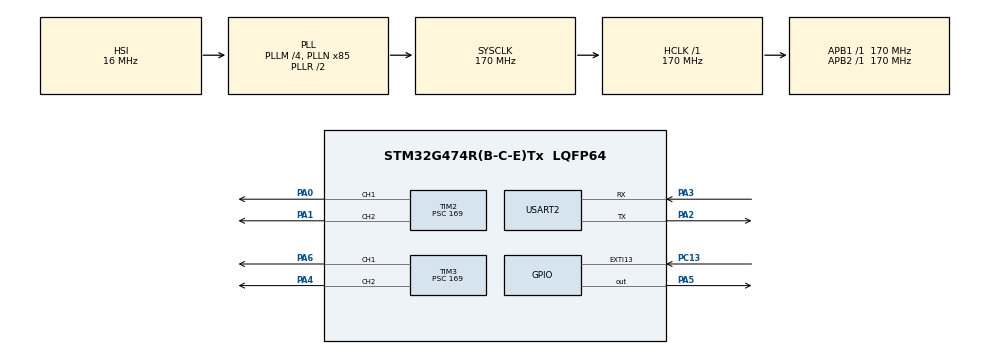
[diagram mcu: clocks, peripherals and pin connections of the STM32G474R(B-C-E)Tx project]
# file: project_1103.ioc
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Mcu.Family=STM32G4
Mcu.Name=STM32G474R(B-C-E)Tx
Mcu.Package=LQFP64
NVIC.EXTI15_10_IRQn=true\:0\:0\:false\:false\:true\:true\:true\:true
NVIC.PriorityGroup=NVIC_PRIORITYGROUP_4
NVIC.TIM2_IRQn=true\:0\:0\:false\:false\:true\:true\:true\:true
NVIC.USART2_IRQn=true\:0\:0\:false\:false\:true\:true\:true\:true
PA0.Signal=S_TIM2_CH1
PA1.Signal=S_TIM2_CH2
PA13.GPIO_Label=T_SWDIO
PA13.Signal=SYS_JTMS-SWDIO
PA14.GPIO_Label=T_SWCLK
PA14.Signal=SYS_JTCK-SWCLK
PA2.Mode=Asynchronous
PA2.Signal=USART2_TX
PA3.Mode=Asynchronous
PA3.Signal=USART2_RX
PA4.Signal=S_TIM3_CH2
PA5.Signal=GPIO_Output
PA6.Signal=S_TIM3_CH1
PB3.GPIO_Label=T_SWO
PB3.Signal=SYS_JTDO-SWO
PC13.GPIO_PuPd=GPIO_NOPULL
PC13.Signal=GPXTI13
PC14-OSC32_IN.GPIO_Label=RCC_OSC32_IN
PC14-OSC32_IN.Signal=RCC_OSC32_IN
PC15-OSC32_OUT.GPIO_Label=RCC_OSC32_OUT
PC15-OSC32_OUT.Signal=RCC_OSC32_OUT
PF0-OSC_IN.GPIO_Label=RCC_OSC_IN
PF0-OSC_IN.Signal=RCC_OSC_IN
PF1-OSC_OUT.GPIO_Label=RCC_OSC_OUT
PF1-OSC_OUT.Signal=RCC_OSC_OUT
ProjectManager.HeapSize=0x200
ProjectManager.StackSize=0x400
ProjectManager.TargetToolchain=STM32CubeIDE
RCC.ADC12Freq_Value=170000000
RCC.ADC345Freq_Value=170000000
RCC.AHBFreq_Value=170000000
RCC.APB1Freq_Value=170000000
RCC.APB1TimFreq_Value=170000000
RCC.APB2Freq_Value=170000000
RCC.APB2TimFreq_Value=170000000
RCC.CortexFreq_Value=170000000
RCC.EXTERNAL_CLOCK_VALUE=12288000
RCC.HCLKFreq_Value=170000000
RCC.HSE_VALUE=24000000
RCC.HSI48_VALUE=48000000
RCC.HSI_VALUE=16000000
RCC.LSE_VALUE=32768
RCC.PLLM=RCC_PLLM_DIV4
RCC.PLLN=85
RCC.RTCClockSelection=RCC_RTCCLKSOURCE_LSE
RCC.SYSCLKFreq_VALUE=170000000
RCC.SYSCLKSource=RCC_SYSCLKSOURCE_PLLCLK
RCC.USBFreq_Value=170000000
RCC.VCOOutputFreq_Value=340000000
SH.S_TIM2_CH1.0=TIM2_CH1,PWM Generation1 CH1
SH.S_TIM2_CH2.0=TIM2_CH2,PWM Generation2 CH2
SH.S_TIM3_CH1.0=TIM3_CH1,PWM Generation1 CH1
SH.S_TIM3_CH2.0=TIM3_CH2,PWM Generation2 CH2
TIM2.Channel-PWM\ Generation1\ CH1=TIM_CHANNEL_1
TIM2.Channel-PWM\ Generation2\ CH2=TIM_CHANNEL_2
TIM2.PeriodNoDither=999
TIM2.Prescaler=169
TIM3.Channel-PWM\ Generation1\ CH1=TIM_CHANNEL_1
TIM3.Channel-PWM\ Generation2\ CH2=TIM_CHANNEL_2
TIM3.PeriodNoDither=9999
TIM3.Prescaler=169
USART2.VirtualMode-Asynchronous=VM_ASYNC
VP_SYS_VS_DBSignals.Mode=DisableDeadBatterySignals
VP_TIM2_VS_ClockSourceINT.Mode=Internal
VP_TIM3_VS_ClockSourceINT.Mode=Internal
board=NUCLEO-G474RE

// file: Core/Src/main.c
/* USER CODE BEGIN Header */
/**
  ******************************************************************************
  * @file           : main.c
  * @brief          : Main program body
  ******************************************************************************
  * @attention
  *
  * Copyright (c) 2026 STMicroelectronics.
  * All rights reserved.
  *
  * This software is licensed under terms that can be found in the LICENSE file
  * in the root directory of this software component.
  * If no LICENSE file comes with this software, it is provided AS-IS.
  *
  ******************************************************************************
  */
/* USER CODE END Header */
#include "main.h"

/* USER CODE BEGIN Includes */
#include <stdio.h>
#include <string.h>
#include <stdlib.h>
/* USER CODE END Includes */

TIM_HandleTypeDef htim2;
TIM_HandleTypeDef htim3;

UART_HandleTypeDef huart2;

/* USER CODE BEGIN PV */
// 狀態變數
volatile uint8_t water_level = 100;
volatile uint8_t light_level = 0;
volatile uint8_t uart_tx_flag = 0;
volatile uint32_t last_button_tick = 0;

// UART 環形緩衝區 (Ring Buffer)
#define RX_BUF_SIZE 128
volatile uint8_t rx_ring_buf[RX_BUF_SIZE];
volatile uint16_t rx_head = 0;
volatile uint16_t rx_tail = 0;
uint8_t rx_byte;
/* USER CODE END PV */

void SystemClock_Config(void);
static void MX_GPIO_Init(void);
static void MX_TIM2_Init(void);
static void MX_TIM3_Init(void);
static void MX_USART2_UART_Init(void);

int main(void)
{

  /* MCU Configuration--------------------------------------------------------*/

  /* Reset of all peripherals, Initializes the Flash interface and the Systick. */
  HAL_Init();

  /* Configure the system clock */
  SystemClock_Config();

  /* Initialize all configured peripherals */
  MX_GPIO_Init();
  MX_TIM2_Init();
  MX_TIM3_Init();
  MX_USART2_UART_Init();
  /* USER CODE BEGIN 2 */
  // 啟動 TIM2 中斷
    HAL_TIM_Base_Start_IT(&htim2);

    // 啟動 TIM3 PWM 通道 1 與 2
    HAL_TIM_PWM_Start(&htim3, TIM_CHANNEL_1);
    HAL_TIM_PWM_Start(&htim3, TIM_CHANNEL_2);

    // 初始亮度設定 (佔空比 0~100 對應 ARR 0~10000)
    __HAL_TIM_SET_COMPARE(&htim3, TIM_CHANNEL_1, light_level * 100);
    __HAL_TIM_SET_COMPARE(&htim3, TIM_CHANNEL_2, water_level * 100);

    // 開啟 UART 接收中斷
    HAL_UART_Receive_IT(&huart2, &rx_byte, 1);
  /* USER CODE END 2 */

  /* Infinite loop */
  /* USER CODE BEGIN WHILE */
    char cmd_buf[32];
      uint8_t cmd_idx = 0;
  while (1)
  {
    /* USER CODE END WHILE */

    /* USER CODE BEGIN 3 */
	  // 1. 處理 UART 發送排程 (非阻塞)
	        if (uart_tx_flag)
	        {
	            uart_tx_flag = 0;
	            char tx_msg[128];
	            if (water_level < 20) {
	                sprintf(tx_msg, "狀態:缺水救援 | 光照:%d%% | 水量:%d%%\r\n", light_level, water_level);
	            } else {
	                sprintf(tx_msg, "狀態:正常 | 光照:%d%% | 水量:%d%%\r\n", light_level, water_level);
	            }
	            HAL_UART_Transmit(&huart2, (uint8_t*)tx_msg, strlen(tx_msg), 100);
	        }

	        // 2. 處理 UART 接收環形緩衝區 (非阻塞解析指令)
	        while (rx_tail != rx_head)
	        {
	            char c = (char)rx_ring_buf[rx_tail];
	            rx_tail = (rx_tail + 1) % RX_BUF_SIZE;

	            if (c == '\n' || c == '\r')
	            {
	                if (cmd_idx > 0)
	                {
	                    cmd_buf[cmd_idx] = '\0';
	                    if (strncmp(cmd_buf, "light ", 6) == 0)
	                    {
	                        light_level = atoi(cmd_buf + 6);
	                        if (light_level > 100) light_level = 100;
	                        __HAL_TIM_SET_COMPARE(&htim3, TIM_CHANNEL_1, light_level * 100);
	                    }
	                    else if (strncmp(cmd_buf, "water ", 6) == 0)
	                    {
	                        water_level = atoi(cmd_buf + 6);
	                        if (water_level > 100) water_level = 100;
	                        __HAL_TIM_SET_COMPARE(&htim3, TIM_CHANNEL_2, water_level * 100);
	                    }
	                    cmd_idx = 0; // 重置指令緩衝區索引
	                }
	            }
	            else
	            {
	                if (cmd_idx < sizeof(cmd_buf) - 1) {
	                    cmd_buf[cmd_idx++] = c;
	                } else {
	                    cmd_idx = 0; // 避免緩衝區溢位
	                }
	            }
	        }
  }
  /* USER CODE END 3 */
}

void SystemClock_Config(void)
{
  RCC_OscInitTypeDef RCC_OscInitStruct = {0};
  RCC_ClkInitTypeDef RCC_ClkInitStruct = {0};

  /** Configure the main internal regulator output voltage
  */
  HAL_PWREx_ControlVoltageScaling(PWR_REGULATOR_VOLTAGE_SCALE1_BOOST);

  /** Initializes the RCC Oscillators according to the specified parameters
  * in the RCC_OscInitTypeDef structure.
  */
  RCC_OscInitStruct.OscillatorType = RCC_OSCILLATORTYPE_HSI;
  RCC_OscInitStruct.HSIState = RCC_HSI_ON;
  RCC_OscInitStruct.HSICalibrationValue = RCC_HSICALIBRATION_DEFAULT;
  RCC_OscInitStruct.PLL.PLLState = RCC_PLL_ON;
  RCC_OscInitStruct.PLL.PLLSource = RCC_PLLSOURCE_HSI;
  RCC_OscInitStruct.PLL.PLLM = RCC_PLLM_DIV4;
  RCC_OscInitStruct.PLL.PLLN = 85;
  RCC_OscInitStruct.PLL.PLLP = RCC_PLLP_DIV2;
  RCC_OscInitStruct.PLL.PLLQ = RCC_PLLQ_DIV2;
  RCC_OscInitStruct.PLL.PLLR = RCC_PLLR_DIV2;
  if (HAL_RCC_OscConfig(&RCC_OscInitStruct) != HAL_OK)
  {
    Error_Handler();
  }

  /** Initializes the CPU, AHB and APB buses clocks
  */
  RCC_ClkInitStruct.ClockType = RCC_CLOCKTYPE_HCLK|RCC_CLOCKTYPE_SYSCLK
                              |RCC_CLOCKTYPE_PCLK1|RCC_CLOCKTYPE_PCLK2;
  RCC_ClkInitStruct.SYSCLKSource = RCC_SYSCLKSOURCE_PLLCLK;
  RCC_ClkInitStruct.AHBCLKDivider = RCC_SYSCLK_DIV1;
  RCC_ClkInitStruct.APB1CLKDivider = RCC_HCLK_DIV1;
  RCC_ClkInitStruct.APB2CLKDivider = RCC_HCLK_DIV1;

  if (HAL_RCC_ClockConfig(&RCC_ClkInitStruct, FLASH_LATENCY_4) != HAL_OK)
  {
    Error_Handler();
  }
}

static void MX_TIM2_Init(void)
{

  TIM_ClockConfigTypeDef sClockSourceConfig = {0};
  TIM_MasterConfigTypeDef sMasterConfig = {0};
  TIM_OC_InitTypeDef sConfigOC = {0};

  htim2.Instance = TIM2;
  htim2.Init.Prescaler = 169;
  htim2.Init.CounterMode = TIM_COUNTERMODE_UP;
  htim2.Init.Period = 999;
  htim2.Init.ClockDivision = TIM_CLOCKDIVISION_DIV1;
  htim2.Init.AutoReloadPreload = TIM_AUTORELOAD_PRELOAD_DISABLE;
  if (HAL_TIM_Base_Init(&htim2) != HAL_OK)
  {
    Error_Handler();
  }
  sClockSourceConfig.ClockSource = TIM_CLOCKSOURCE_INTERNAL;
  if (HAL_TIM_ConfigClockSource(&htim2, &sClockSourceConfig) != HAL_OK)
  {
    Error_Handler();
  }
  if (HAL_TIM_PWM_Init(&htim2) != HAL_OK)
  {
    Error_Handler();
  }
  sMasterConfig.MasterOutputTrigger = TIM_TRGO_RESET;
  sMasterConfig.MasterSlaveMode = TIM_MASTERSLAVEMODE_DISABLE;
  if (HAL_TIMEx_MasterConfigSynchronization(&htim2, &sMasterConfig) != HAL_OK)
  {
    Error_Handler();
  }
  sConfigOC.OCMode = TIM_OCMODE_PWM1;
  sConfigOC.Pulse = 0;
  sConfigOC.OCPolarity = TIM_OCPOLARITY_HIGH;
  sConfigOC.OCFastMode = TIM_OCFAST_DISABLE;
  if (HAL_TIM_PWM_ConfigChannel(&htim2, &sConfigOC, TIM_CHANNEL_1) != HAL_OK)
  {
    Error_Handler();
  }
  if (HAL_TIM_PWM_ConfigChannel(&htim2, &sConfigOC, TIM_CHANNEL_2) != HAL_OK)
  {
    Error_Handler();
  }
  HAL_TIM_MspPostInit(&htim2);

}

static void MX_TIM3_Init(void)
{

  TIM_ClockConfigTypeDef sClockSourceConfig = {0};
  TIM_MasterConfigTypeDef sMasterConfig = {0};
  TIM_OC_InitTypeDef sConfigOC = {0};

  htim3.Instance = TIM3;
  htim3.Init.Prescaler = 169;
  htim3.Init.CounterMode = TIM_COUNTERMODE_UP;
  htim3.Init.Period = 9999;
  htim3.Init.ClockDivision = TIM_CLOCKDIVISION_DIV1;
  htim3.Init.AutoReloadPreload = TIM_AUTORELOAD_PRELOAD_DISABLE;
  if (HAL_TIM_Base_Init(&htim3) != HAL_OK)
  {
    Error_Handler();
  }
  sClockSourceConfig.ClockSource = TIM_CLOCKSOURCE_INTERNAL;
  if (HAL_TIM_ConfigClockSource(&htim3, &sClockSourceConfig) != HAL_OK)
  {
    Error_Handler();
  }
  if (HAL_TIM_PWM_Init(&htim3) != HAL_OK)
  {
    Error_Handler();
  }
  sMasterConfig.MasterOutputTrigger = TIM_TRGO_RESET;
  sMasterConfig.MasterSlaveMode = TIM_MASTERSLAVEMODE_DISABLE;
  if (HAL_TIMEx_MasterConfigSynchronization(&htim3, &sMasterConfig) != HAL_OK)
  {
    Error_Handler();
  }
  sConfigOC.OCMode = TIM_OCMODE_PWM1;
  sConfigOC.Pulse = 0;
  sConfigOC.OCPolarity = TIM_OCPOLARITY_HIGH;
  sConfigOC.OCFastMode = TIM_OCFAST_DISABLE;
  if (HAL_TIM_PWM_ConfigChannel(&htim3, &sConfigOC, TIM_CHANNEL_1) != HAL_OK)
  {
    Error_Handler();
  }
  if (HAL_TIM_PWM_ConfigChannel(&htim3, &sConfigOC, TIM_CHANNEL_2) != HAL_OK)
  {
    Error_Handler();
  }
  HAL_TIM_MspPostInit(&htim3);

}

static void MX_USART2_UART_Init(void)
{

  huart2.Instance = USART2;
  huart2.Init.BaudRate = 115200;
  huart2.Init.WordLength = UART_WORDLENGTH_8B;
  huart2.Init.StopBits = UART_STOPBITS_1;
  huart2.Init.Parity = UART_PARITY_NONE;
  huart2.Init.Mode = UART_MODE_TX_RX;
  huart2.Init.HwFlowCtl = UART_HWCONTROL_NONE;
  huart2.Init.OverSampling = UART_OVERSAMPLING_16;
  huart2.Init.OneBitSampling = UART_ONE_BIT_SAMPLE_DISABLE;
  huart2.Init.ClockPrescaler = UART_PRESCALER_DIV1;
  huart2.AdvancedInit.AdvFeatureInit = UART_ADVFEATURE_NO_INIT;
  if (HAL_UART_Init(&huart2) != HAL_OK)
  {
    Error_Handler();
  }
  if (HAL_UARTEx_SetTxFifoThreshold(&huart2, UART_TXFIFO_THRESHOLD_1_8) != HAL_OK)
  {
    Error_Handler();
  }
  if (HAL_UARTEx_SetRxFifoThreshold(&huart2, UART_RXFIFO_THRESHOLD_1_8) != HAL_OK)
  {
    Error_Handler();
  }
  if (HAL_UARTEx_DisableFifoMode(&huart2) != HAL_OK)
  {
    Error_Handler();
  }

}

static void MX_GPIO_Init(void)
{
  GPIO_InitTypeDef GPIO_InitStruct = {0};

  /* GPIO Ports Clock Enable */
  __HAL_RCC_GPIOC_CLK_ENABLE();
  __HAL_RCC_GPIOF_CLK_ENABLE();
  __HAL_RCC_GPIOA_CLK_ENABLE();
  __HAL_RCC_GPIOB_CLK_ENABLE();

  /*Configure GPIO pin Output Level */
  HAL_GPIO_WritePin(GPIOA, GPIO_PIN_5, GPIO_PIN_RESET);

  /*Configure GPIO pin : PC13 */
  GPIO_InitStruct.Pin = GPIO_PIN_13;
  GPIO_InitStruct.Mode = GPIO_MODE_IT_RISING;
  GPIO_InitStruct.Pull = GPIO_NOPULL;
  HAL_GPIO_Init(GPIOC, &GPIO_InitStruct);

  /*Configure GPIO pin : PA5 */
  GPIO_InitStruct.Pin = GPIO_PIN_5;
  GPIO_InitStruct.Mode = GPIO_MODE_OUTPUT_PP;
  GPIO_InitStruct.Pull = GPIO_NOPULL;
  GPIO_InitStruct.Speed = GPIO_SPEED_FREQ_LOW;
  HAL_GPIO_Init(GPIOA, &GPIO_InitStruct);

  /* EXTI interrupt init*/
  HAL_NVIC_SetPriority(EXTI15_10_IRQn, 0, 0);
  HAL_NVIC_EnableIRQ(EXTI15_10_IRQn);

}

/* USER CODE BEGIN 4 */
void HAL_UART_RxCpltCallback(UART_HandleTypeDef *huart)
{
    if (huart->Instance == USART2)
    {
        uint16_t next_head = (rx_head + 1) % RX_BUF_SIZE;
        if (next_head != rx_tail) // 若 Buffer 未滿
        {
            rx_ring_buf[rx_head] = rx_byte;
            rx_head = next_head;
        }
        // 重新開啟接收中斷
        HAL_UART_Receive_IT(&huart2, &rx_byte, 1);
    }
}

// TIM 定時器中斷回呼函式
void HAL_TIM_PeriodElapsedCallback(TIM_HandleTypeDef *htim)
{
    if (htim->Instance == TIM2)
    {
        static uint16_t water_tick = 0;
        static uint16_t report_tick = 0;
        static uint16_t blink_tick = 0;

        // 每 100 毫秒扣水 1%
        if (++water_tick >= 100)
        {
            water_tick = 0;
            if (water_level > 0)
            {
                water_level--;
                __HAL_TIM_SET_COMPARE(&htim3, TIM_CHANNEL_2, water_level * 100);
            }
        }

        // 每 1000 毫秒設定回報旗標
        if (++report_tick >= 1000)
        {
            report_tick = 0;
            uart_tx_flag = 1;
        }

        // 每 50 毫秒處理警報燈閃爍 (10Hz)
        if (++blink_tick >= 50)
        {
            blink_tick = 0;
            if (water_level < 20) {
                HAL_GPIO_TogglePin(GPIOA, GPIO_PIN_5);
            } else {
                HAL_GPIO_WritePin(GPIOA, GPIO_PIN_5, GPIO_PIN_RESET);
            }
        }
    }
}

// EXTI 外部中斷回呼函式 (按鍵)
void HAL_GPIO_EXTI_Callback(uint16_t GPIO_Pin)
{
    if (GPIO_Pin == GPIO_PIN_13)
    {
        uint32_t current_tick = HAL_GetTick();

        // 50ms 去彈跳
        if (current_tick - last_button_tick > 50)
        {
            if (water_level < 20) {
                water_level = 100;
            } else {
                water_level = 0;
            }

            // 立即更新 PWM
            __HAL_TIM_SET_COMPARE(&htim3, TIM_CHANNEL_2, water_level * 100);
            last_button_tick = current_tick;
        }
    }
}
/* USER CODE END 4 */

void Error_Handler(void)
{
  __disable_irq();
  while (1)
  {
  }
}
